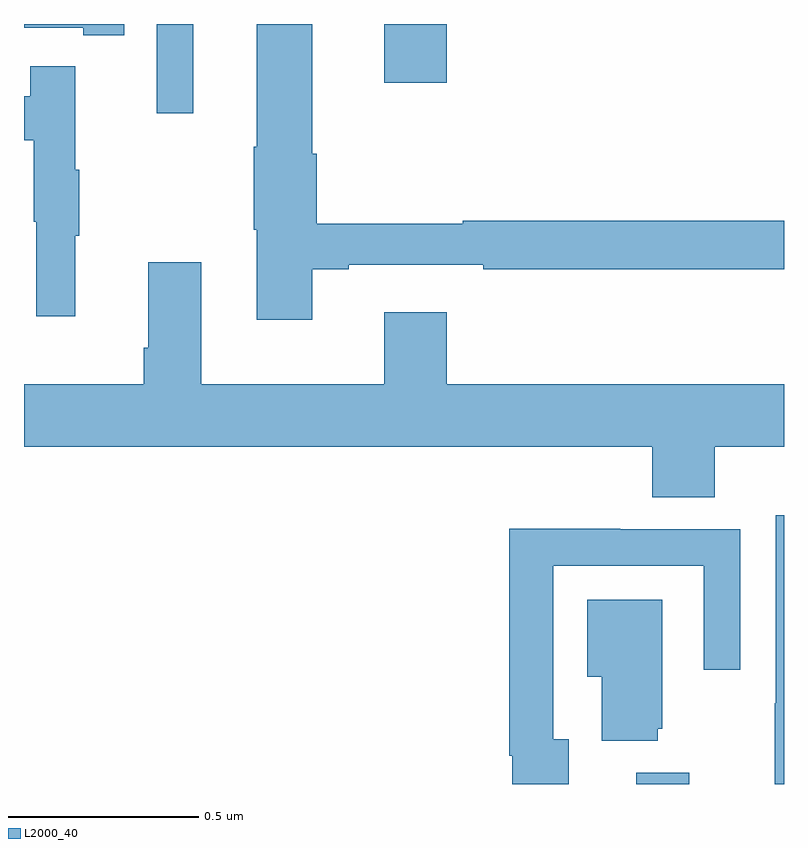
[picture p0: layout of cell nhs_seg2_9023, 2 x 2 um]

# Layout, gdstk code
import gdstk
lib = gdstk.Library(unit=1e-6, precision=1e-09)
def R(c, l, rs):  # rectangles x0, y0, x1, y1
    for r in rs: c.add(gdstk.rectangle(r[:2], r[2:], *l))
def P(c, l, *ps):  # polygons
    for p in ps: c.add(gdstk.Polygon(p, *l))
L2000_40 = (2000, 40)

nhs_seg2_9023 = lib.new_cell('nhs_seg2_9023')
R(nhs_seg2_9023, L2000_40, [(225.611,594.8,225.751,594.829), (224.349,596.565,224.446,596.8), (224.948,596.646,225.112,596.8)])
P(nhs_seg2_9023, L2000_40, [(224.264,596.8),(224,596.8),(224,596.79),(224.156,596.79),(224.156,596.77),(224.264,596.77)],
  [(224.758,596.154),(224.854,596.154),(224.854,596.166),(225.208,596.166),(225.208,596.154),(226,596.154),(226,596.282),(225.154,596.282),(225.154,596.275),(224.771,596.275),(224.771,596.459),(224.758,596.459),(224.758,596.8),(224.612,596.8),(224.612,596.477),(224.605,596.477),(224.605,596.259),(224.612,596.259),(224.612,596.022),(224.758,596.022)],
  [(224.135,596.243),(224.146,596.243),(224.146,596.417),(224.135,596.417),(224.135,596.689),(224.017,596.689),(224.017,596.61),(224,596.61),(224,596.494),(224.025,596.494),(224.025,596.28),(224.032,596.28),(224.032,596.031),(224.135,596.031)],
  [(225.818,595.688),(226,595.688),(226,595.852),(225.112,595.852),(225.112,596.041),(224.948,596.041),(224.948,595.852),(224.467,595.852),(224.467,596.173),(224.327,596.173),(224.327,595.948),(224.315,595.948),(224.315,595.852),(224,595.852),(224,595.688),(225.653,595.688),(225.653,595.555),(225.818,595.555)],
  [(226,595.507),(225.978,595.507),(225.978,595.013),(225.976,595.013),(225.976,594.8),(226,594.8)],
  [(225.433,594.918),(225.393,594.918),(225.393,595.374),(225.789,595.374),(225.789,595.101),(225.885,595.101),(225.885,595.47),(225.569,595.47),(225.569,595.472),(225.277,595.472),(225.277,594.874),(225.285,594.874),(225.285,594.8),(225.433,594.8)],
  [(225.668,594.945),(225.679,594.945),(225.679,595.285),(225.482,595.285),(225.482,595.082),(225.521,595.082),(225.521,594.914),(225.668,594.914)])

lib.write_gds('nhs_seg2_9023.gds')
